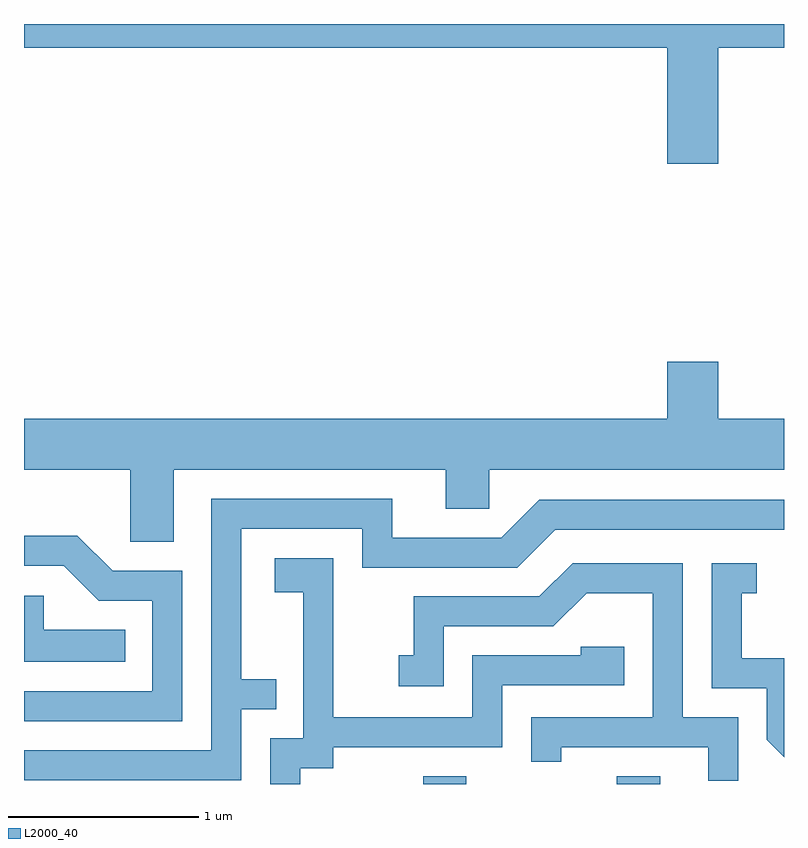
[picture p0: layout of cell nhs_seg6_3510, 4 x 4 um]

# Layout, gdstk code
import gdstk
lib = gdstk.Library(unit=1e-6, precision=1e-09)
def R(c, l, rs):  # rectangles x0, y0, x1, y1
    for r in rs: c.add(gdstk.rectangle(r[:2], r[2:], *l))
def P(c, l, *ps):  # polygons
    for p in ps: c.add(gdstk.Polygon(p, *l))
L2000_40 = (2000, 40)

nhs_seg6_3510 = lib.new_cell('nhs_seg6_3510')
R(nhs_seg6_3510, L2000_40, [(293.711,1546.162,293.939,1546.204), (294.731,1546.162,294.959,1546.204)])
P(nhs_seg6_3510, L2000_40, [(295.264,1550.036),(295.611,1550.036),(295.611,1550.162),(291.611,1550.162),(291.611,1550.036),(294.996,1550.036),(294.996,1549.426),(295.264,1549.426)],
  [(292.399,1547.816),(293.831,1547.816),(293.831,1547.611),(294.059,1547.611),(294.059,1547.816),(295.611,1547.816),(295.611,1548.084),(295.264,1548.084),(295.264,1548.384),(294.996,1548.384),(294.996,1548.084),(291.611,1548.084),(291.611,1547.816),(292.171,1547.816),(292.171,1547.436),(292.399,1547.436)],
  [(292.754,1546.556),(292.938,1546.556),(292.938,1546.714),(292.754,1546.714),(292.754,1547.506),(293.391,1547.506),(293.391,1547.301),(294.207,1547.301),(294.407,1547.501),(295.611,1547.501),(295.611,1547.659),(294.324,1547.659),(294.124,1547.459),(293.549,1547.459),(293.549,1547.664),(292.596,1547.664),(292.596,1546.339),(291.611,1546.339),(291.611,1546.181),(292.754,1546.181)],
  [(292.444,1547.284),(292.077,1547.284),(291.892,1547.469),(291.611,1547.469),(291.611,1547.311),(291.819,1547.311),(292.004,1547.126),(292.286,1547.126),(292.286,1546.649),(291.611,1546.649),(291.611,1546.491),(292.444,1546.491)],
  [(293.064,1546.246),(293.239,1546.246),(293.239,1546.356),(294.129,1546.356),(294.129,1546.681),(294.769,1546.681),(294.769,1546.884),(294.541,1546.884),(294.541,1546.839),(293.971,1546.839),(293.971,1546.514),(293.239,1546.514),(293.239,1547.349),(292.931,1547.349),(292.931,1547.171),(293.081,1547.171),(293.081,1546.404),(292.906,1546.404),(292.906,1546.162),(293.064,1546.162)],
  [(295.369,1546.514),(295.079,1546.514),(295.079,1547.324),(294.499,1547.324),(294.324,1547.149),(293.661,1547.149),(293.661,1546.839),(293.583,1546.839),(293.583,1546.676),(293.819,1546.676),(293.819,1546.991),(294.397,1546.991),(294.572,1547.166),(294.921,1547.166),(294.921,1546.514),(294.281,1546.514),(294.281,1546.278),(294.439,1546.278),(294.439,1546.356),(295.211,1546.356),(295.211,1546.178),(295.369,1546.178)],
  [(295.611,1546.824),(295.389,1546.824),(295.389,1547.166),(295.468,1547.166),(295.468,1547.324),(295.231,1547.324),(295.231,1546.666),(295.521,1546.666),(295.521,1546.394),(295.611,1546.304)],
  [(292.143,1546.974),(291.714,1546.974),(291.714,1547.154),(291.611,1547.154),(291.611,1546.806),(292.143,1546.806)])

lib.write_gds('nhs_seg6_3510.gds')
